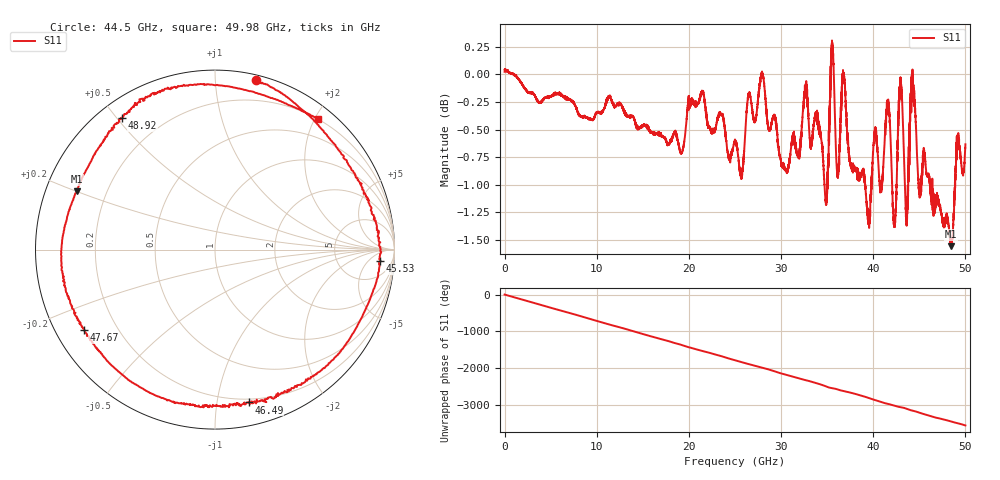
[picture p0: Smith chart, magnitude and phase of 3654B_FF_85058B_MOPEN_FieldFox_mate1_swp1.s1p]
!Created with skrf (http://scikit-rf.org).
# Hz S RI R 50.0
!freq ReS11 ImS11
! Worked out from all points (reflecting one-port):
!   10001 points, 300 kHz to 50 GHz, reference 50 ohm
!   lowest |S11| = -1.6 dB at 48.47 GHz (marker M1), VSWR 11.19, Z = 4.65 + j10 ohm
!   phase of S11 starts at 0 deg and turns -3550 deg over the sweep
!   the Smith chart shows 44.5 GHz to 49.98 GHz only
!   S11 on the Smith chart (normalised r, x): 44.5 GHz: 0.04, +1.27; 45.53 GHz: 14, -12; 46.49 GHz: 0.17, -1.23; 47.67 GHz: 0.08, -0.28; 48.92 GHz: 0.07, +0.52; 49.98 GHz: 0.20, +2.04
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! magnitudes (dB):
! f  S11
! 300 kHz  0.0
! 6.25 GHz  -0.2
! 12.5 GHz  -0.3
! 18.75 GHz  -0.6
! 21.43 GHz  -0.2
! 25 GHz  -0.6
! 27.93 GHz  0.0
! 31.25 GHz  -0.6
! 32.69 GHz  -0.1
! 34.89 GHz  -1.1
! 35.57 GHz  0.3
! 36.12 GHz  -0.9
! 36.77 GHz  0.0
! 37.5 GHz  -0.8
! 39.52 GHz  -1.3
! 41.59 GHz  -0.3
! 42.31 GHz  -1.4
! 42.98 GHz  0.0
! 43.75 GHz  -1.0
! 44.5 GHz  -0.3
! 45 GHz  -1.1
! 45.53 GHz  -0.7
! 46.49 GHz  -1.2
! 47.67 GHz  -1.3
! 48.47 GHz  -1.6
! 48.92 GHz  -1.0
! 49.98 GHz  -0.7
! 50 GHz  -0.6
